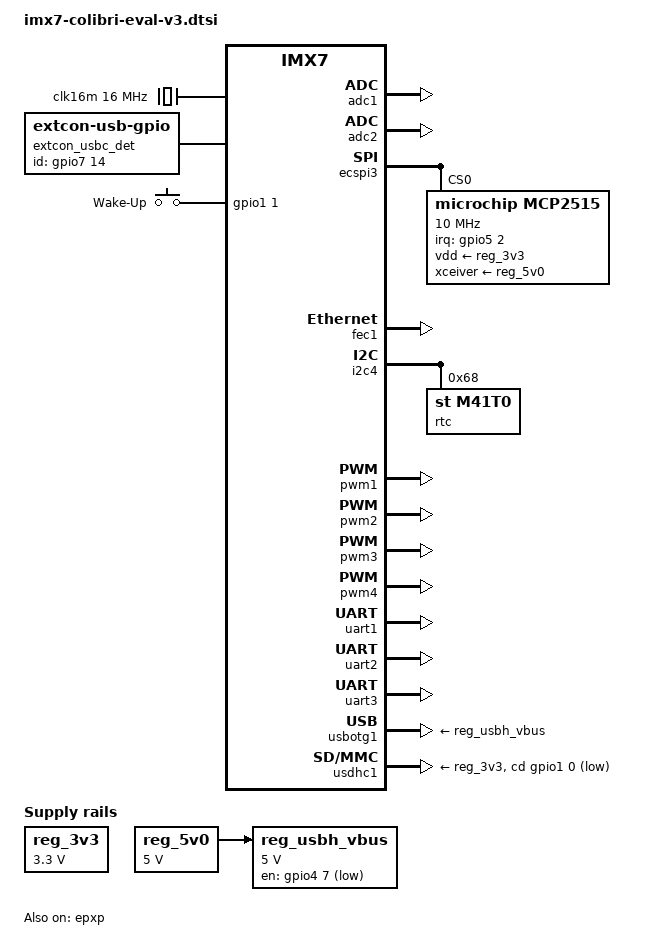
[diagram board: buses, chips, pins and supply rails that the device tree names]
// SPDX-License-Identifier: GPL-2.0+ OR MIT
/*
 * Copyright 2016-2020 Toradex
 */

#include <dt-bindings/input/input.h>

/ {
	aliases {
		rtc0 = &rtc;
		rtc1 = &snvs_rtc;
	};

	chosen {
		stdout-path = "serial0:115200n8";
	};

	/* fixed crystal dedicated to mpc258x */
	clk16m: clk16m {
		compatible = "fixed-clock";
		#clock-cells = <0>;
		clock-frequency = <16000000>;
	};

	extcon_usbc_det: usbc_det {
		compatible = "linux,extcon-usb-gpio";
		debounce = <25>;
		id-gpio = <&gpio7 14 GPIO_ACTIVE_HIGH>;
		pinctrl-names = "default";
		pinctrl-0 = <&pinctrl_usbc_det>;
	};

	gpio-keys {
		compatible = "gpio-keys";
		pinctrl-names = "default";
		pinctrl-0 = <&pinctrl_gpiokeys>;

		power {
			label = "Wake-Up";
			gpios = <&gpio1 1 (GPIO_ACTIVE_HIGH | GPIO_PULL_DOWN)>;
			linux,code = <KEY_WAKEUP>;
			debounce-interval = <10>;
			gpio-key,wakeup;
		};
	};

	reg_3v3: regulator-3v3 {
		compatible = "regulator-fixed";
		regulator-name = "3.3V";
		regulator-min-microvolt = <3300000>;
		regulator-max-microvolt = <3300000>;
	};

	reg_5v0: regulator-5v0 {
		compatible = "regulator-fixed";
		regulator-name = "5V";
		regulator-min-microvolt = <5000000>;
		regulator-max-microvolt = <5000000>;
	};

	reg_usbh_vbus: regulator-usbh-vbus {
		compatible = "regulator-fixed";
		pinctrl-names = "default";
		pinctrl-0 = <&pinctrl_usbh_reg>;
		regulator-name = "VCC_USB[1-4]";
		regulator-min-microvolt = <5000000>;
		regulator-max-microvolt = <5000000>;
		gpio = <&gpio4 7 GPIO_ACTIVE_LOW>;
		vin-supply = <&reg_5v0>;
	};
};

&adc1 {
	status = "okay";
};

&adc2 {
	status = "okay";
};

&epxp {
	status = "okay";
};

&ecspi3 {
	mcp2515: can@0 {
		compatible = "microchip,mcp2515";
		pinctrl-names = "default";
		pinctrl-0 = <&pinctrl_can_int>;
		reg = <0>;
		clocks = <&clk16m>;
		interrupt-parent = <&gpio5>;
		interrupts = <2 IRQ_TYPE_EDGE_FALLING>;
		spi-max-frequency = <10000000>;
		vdd-supply = <&reg_3v3>;
		xceiver-supply = <&reg_5v0>;
		status = "okay";
	};
	/* To keep the CAN controller enabled by default,
	 * disable conflicting spidev. This spidev device
	 * enables with the devicetree overlay.
	 */
	spidev0: spidev@0 {
		status = "disabled";
	};

};

&fec1 {
	status = "okay";
};

&i2c4 {
	status = "okay";

	/* M41T0M6 real time clock on carrier board */
	rtc: m41t0m6@68 {
		compatible = "st,m41t0";
		reg = <0x68>;
	};
};

&pwm1 {
	status = "okay";
};

&pwm2 {
	status = "okay";
};

&pwm3 {
	status = "okay";
};

&pwm4 {
	status = "okay";
};

&uart1 {
	status = "okay";
};

&uart2 {
	status = "okay";
};

&uart3 {
	status = "okay";
};

&usbotg1 {
	extcon = <&extcon_usbc_det>, <&extcon_usbc_det>;
	vbus-supply = <&reg_usbh_vbus>;
	status = "okay";
};

/* The define SD_1_8 allows to use the SD interface at a higher speed mode
 * if the card supports it. For this the signaling voltage is switched from
 * 3.3V to 1.8V under the usdhc1's drivers control.
 * All pins supplied with NVCC_SD1 must be able to cope with this
 * and must (MUST!!!) not be driven with a voltage higher than 1.8V or
 * the interface will not work.
 */
/* #define SD_1_8 */
&usdhc1 {
#ifdef SD_1_8
	pinctrl-names = "default", "state_100mhz", "state_200mhz";
	pinctrl-0 = <&pinctrl_usdhc1 &pinctrl_cd_usdhc1>;
	pinctrl-1 = <&pinctrl_usdhc1_100mhz &pinctrl_cd_usdhc1>;
	pinctrl-2 = <&pinctrl_usdhc1_200mhz &pinctrl_cd_usdhc1>;
	vqmmc-supply = <&reg_LDO2>;
#else
	pinctrl-names = "default";
	pinctrl-0 = <&pinctrl_usdhc1 &pinctrl_cd_usdhc1>;
	no-1-8-v;
#endif
	cd-gpios = <&gpio1 0 GPIO_ACTIVE_LOW>;
	disable-wp;
	enable-sdio-wakeup;
	keep-power-in-suspend;
	wakeup-source;
	vmmc-supply = <&reg_3v3>;
	status = "okay";
};

